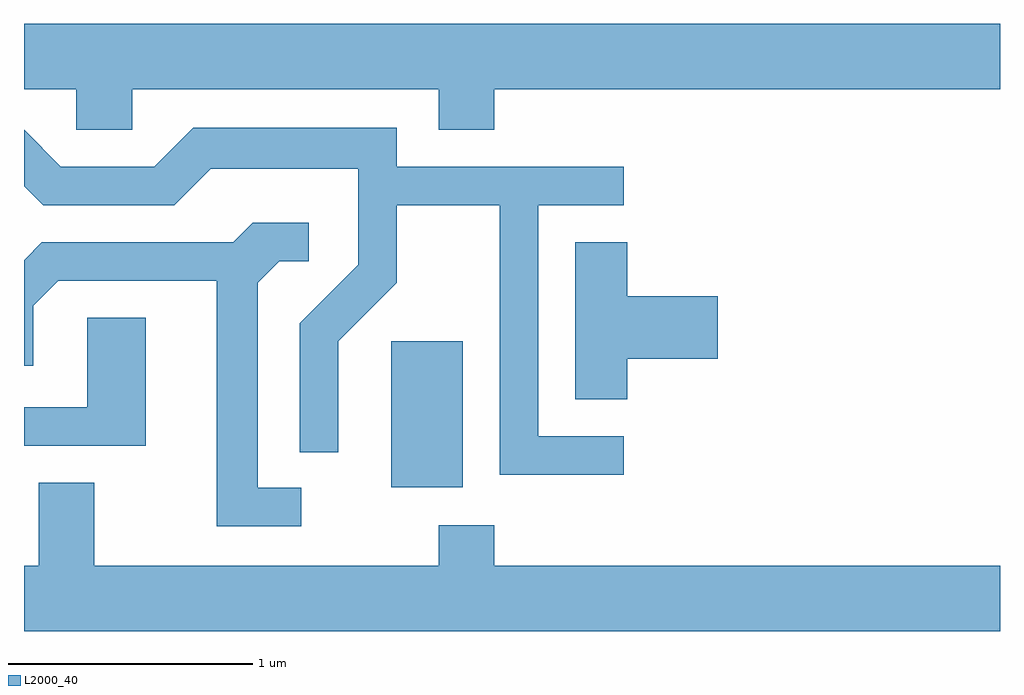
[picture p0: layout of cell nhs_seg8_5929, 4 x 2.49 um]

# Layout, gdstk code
import gdstk
lib = gdstk.Library(unit=1e-6, precision=1e-09)
def R(c, l, rs):  # rectangles x0, y0, x1, y1
    for r in rs: c.add(gdstk.rectangle(r[:2], r[2:], *l))
def P(c, l, *ps):  # polygons
    for p in ps: c.add(gdstk.Polygon(p, *l))
L2000_40 = (2000, 40)

nhs_seg8_5929 = lib.new_cell('nhs_seg8_5929')
R(nhs_seg8_5929, L2000_40, [(365.116,1810.366,365.409,1810.964)])
P(nhs_seg8_5929, L2000_40, [(364.054,1811.996),(365.311,1811.996),(365.311,1811.831),(365.539,1811.831),(365.539,1811.996),(367.611,1811.996),(367.611,1812.264),(363.611,1812.264),(363.611,1811.996),(363.826,1811.996),(363.826,1811.831),(364.054,1811.831)],
  [(366.068,1810.574),(365.719,1810.574),(365.719,1811.521),(366.068,1811.521),(366.068,1811.679),(365.139,1811.679),(365.139,1811.839),(364.304,1811.839),(364.144,1811.679),(363.762,1811.679),(363.611,1811.83),(363.611,1811.599),(363.689,1811.521),(364.227,1811.521),(364.377,1811.671),(364.981,1811.671),(364.981,1811.277),(364.741,1811.037),(364.741,1810.508),(364.899,1810.508),(364.899,1810.964),(365.139,1811.204),(365.139,1811.521),(365.561,1811.521),(365.561,1810.416),(366.068,1810.416)],
  [(364.748,1810.364),(364.569,1810.364),(364.569,1811.204),(364.657,1811.291),(364.778,1811.291),(364.778,1811.449),(364.549,1811.449),(364.469,1811.369),(363.684,1811.369),(363.611,1811.296),(363.611,1810.863),(363.649,1810.863),(363.649,1811.109),(363.752,1811.211),(364.401,1811.211),(364.401,1810.206),(364.748,1810.206)],
  [(366.084,1810.891),(366.454,1810.891),(366.454,1811.149),(366.084,1811.149),(366.084,1811.369),(365.871,1811.369),(365.871,1810.726),(366.084,1810.726)],
  [(364.109,1811.059),(363.871,1811.059),(363.871,1810.694),(363.611,1810.694),(363.611,1810.536),(364.109,1810.536)],
  [(367.611,1810.044),(365.539,1810.044),(365.539,1810.209),(365.311,1810.209),(365.311,1810.044),(363.899,1810.044),(363.899,1810.384),(363.671,1810.384),(363.671,1810.044),(363.611,1810.044),(363.611,1809.776),(367.611,1809.776)])

lib.write_gds('nhs_seg8_5929.gds')
